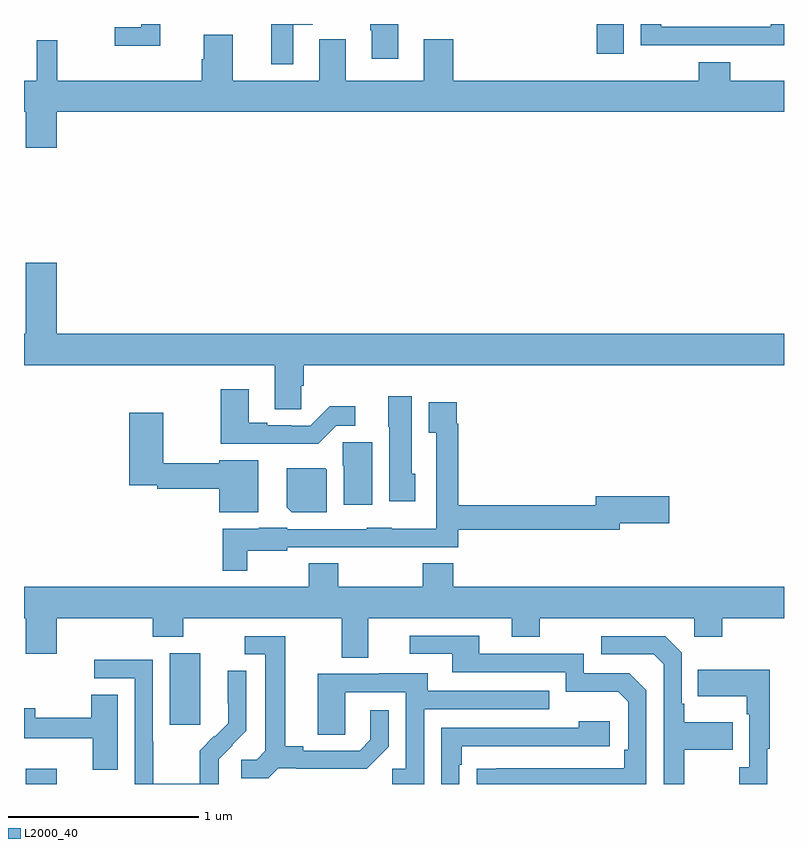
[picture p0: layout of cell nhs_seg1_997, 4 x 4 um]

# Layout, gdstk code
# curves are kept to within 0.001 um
import gdstk
lib = gdstk.Library(unit=1e-6, precision=1e-09)
def R(c, l, rs):  # rectangles x0, y0, x1, y1
    for r in rs: c.add(gdstk.rectangle(r[:2], r[2:], *l))
def P(c, l, *ps):  # polygons
    for p in ps: c.add(gdstk.Polygon(p, *l))
L2000_40 = (2000, 40)

nhs_seg1_997 = lib.new_cell('nhs_seg1_997')
R(nhs_seg1_997, L2000_40, [(165.008,544.199,165.172,544.279), (165.767,544.512,165.928,544.888), (168.014,548.043,168.157,548.199)])
P(nhs_seg1_997, L2000_40, [(165.717,548.199),(165.618,548.199),(165.618,548.182),(165.477,548.182),(165.477,548.084),(165.717,548.084)],
  [(166.969,548.199),(166.822,548.199),(166.822,548.166),(166.829,548.166),(166.829,548.016),(166.969,548.016)],
  [(166.417,548.194),(166.519,548.194),(166.519,548.199),(166.301,548.199),(166.301,547.986),(166.417,547.986)],
  [(168.467,548.088),(168.833,548.088),(168.833,548.087),(169,548.087),(169,548.199),(168.93,548.199),(168.93,548.184),(168.584,548.184),(168.584,548.185),(168.355,548.185),(168.355,548.199),(168.246,548.199),(168.246,548.087),(168.467,548.087)],
  [(165.172,547.736),(169,547.736),(169,547.9),(168.716,547.9),(168.716,547.999),(168.551,547.999),(168.551,547.9),(167.258,547.9),(167.258,548.119),(167.105,548.119),(167.105,547.9),(166.693,547.9),(166.693,548.119),(166.553,548.119),(166.553,547.9),(166.099,547.9),(166.099,548.143),(165.947,548.143),(165.947,548.013),(165.935,548.013),(165.935,547.9),(165.175,547.9),(165.175,548.114),(165.066,548.114),(165.066,547.9),(165,547.9),(165,547.736),(165.008,547.736),(165.008,547.548),(165.172,547.548)],
  [(166.458,546.294),(166.472,546.294),(166.472,546.404),(169,546.404),(169,546.568),(165.172,546.568),(165.172,546.943),(165.008,546.943),(165.008,546.568),(165,546.568),(165,546.404),(166.319,546.404),(166.319,546.172),(166.458,546.172)],
  [(166.644,546.084),(166.744,546.084),(166.744,546.187),(166.609,546.187),(166.506,546.084),(166.406,546.084),(166.406,546.087),(166.279,546.087),(166.279,546.1),(166.183,546.1),(166.183,546.277),(166.036,546.277),(166.036,545.99),(166.549,545.99)],
  [(167.059,545.832),(167.041,545.832),(167.041,546.241),(166.916,546.241),(166.916,546.078),(166.922,546.078),(166.922,545.688),(167.059,545.688)],
  [(166.174,545.426),(166.386,545.426),(166.386,545.445),(166.803,545.445),(166.803,545.444),(167.035,545.444),(167.035,545.445),(167.285,545.445),(167.285,545.538),(168.136,545.538),(168.136,545.572),(168.397,545.572),(168.397,545.714),(168.008,545.714),(168.008,545.666),(167.285,545.666),(167.285,546.095),(167.278,546.095),(167.278,546.208),(167.129,546.208),(167.129,546.047),(167.169,546.047),(167.169,545.542),(166.935,545.542),(166.935,545.548),(166.803,545.548),(166.803,545.541),(166.386,545.541),(166.386,545.548),(166.236,545.548),(166.236,545.542),(166.045,545.542),(166.045,545.321),(166.174,545.321)],
  [(166.234,545.902),(166.028,545.902),(166.028,545.888),(165.732,545.888),(165.732,546.154),(165.554,546.154),(165.554,545.772),(165.7,545.772),(165.7,545.752),(166.028,545.752),(166.028,545.63),(166.234,545.63)],
  [(166.834,545.997),(166.678,545.997),(166.678,545.874),(166.682,545.874),(166.682,545.67),(166.834,545.67)],
  [(166.594,545.852),(166.586,545.86),(166.382,545.86),(166.382,545.656),(166.408,545.63),(166.594,545.63)],
  [(165,545.072),(165.008,545.072),(165.008,544.884),(165.172,544.884),(165.172,545.072),(165.677,545.072),(165.677,544.973),(165.837,544.973),(165.837,545.072),(166.673,545.072),(166.673,544.864),(166.813,544.864),(166.813,545.072),(167.567,545.072),(167.567,544.973),(167.715,544.973),(167.715,545.072),(168.528,545.072),(168.528,544.973),(168.675,544.973),(168.675,545.072),(169,545.072),(169,545.236),(167.258,545.236),(167.258,545.36),(167.098,545.36),(167.098,545.236),(166.653,545.236),(166.653,545.36),(166.498,545.36),(166.498,545.236),(165,545.236)],
  [(168.276,544.692),(168.186,544.782),(167.946,544.782),(167.946,544.884),(167.395,544.884),(167.395,544.98),(167.031,544.98),(167.031,544.884),(167.255,544.884),(167.255,544.788),(167.85,544.788),(167.85,544.685),(168.127,544.685),(168.18,544.632),(168.18,544.378),(168.16,544.378),(168.16,544.281),(167.383,544.28),(167.383,544.199),(168.276,544.199)],
  [(166.338,544.281),(166.432,544.281),(166.432,544.278),(166.804,544.278),(166.92,544.394),(166.92,544.588),(166.823,544.588),(166.823,544.431),(166.766,544.374),(166.471,544.374),(166.471,544.397),(166.375,544.397),(166.375,544.977),(166.161,544.977),(166.161,544.881),(166.271,544.881),(166.271,544.373),(166.224,544.326),(166.143,544.326),(166.143,544.229),(166.286,544.229)],
  [(168.475,544.378),(168.731,544.378),(168.731,544.525),(168.475,544.525),(168.475,544.621),(168.462,544.621),(168.462,544.89),(168.375,544.977),(168.039,544.977),(168.039,544.881),(168.315,544.881),(168.366,544.83),(168.366,544.199),(168.475,544.199)],
  [(166.026,544.233),(166.024,544.233),(166.024,544.33),(166.17,544.478),(166.17,544.796),(166.073,544.796),(166.073,544.624),(166.076,544.624),(166.076,544.52),(166.005,544.449),(166.002,544.452),(165.925,544.375),(165.925,544.201),(165.681,544.201),(165.681,544.424),(165.678,544.424),(165.678,544.854),(165.369,544.854),(165.369,544.755),(165.582,544.755),(165.582,544.199),(166.026,544.199)],
  [(168.913,544.385),(168.925,544.385),(168.925,544.801),(168.547,544.801),(168.547,544.661),(168.804,544.661),(168.804,544.565),(168.816,544.565),(168.816,544.286),(168.765,544.286),(168.765,544.199),(168.913,544.199)],
  [(167.106,544.593),(167.765,544.593),(167.765,544.689),(167.125,544.689),(167.125,544.783),(166.871,544.783),(166.871,544.779),(166.547,544.779),(166.547,544.459),(166.692,544.459),(166.692,544.683),(167.01,544.683),(167.01,544.278),(166.938,544.278),(166.938,544.199),(167.106,544.199)],
  [(165.493,544.67),(165.355,544.67),(165.355,544.549),(165.058,544.549),(165.058,544.599),(165,544.599),(165,544.439),(165.362,544.439),(165.362,544.273),(165.493,544.273)],
  [(167.292,544.301),(167.305,544.301),(167.305,544.398),(168.082,544.398),(168.082,544.528),(167.921,544.528),(167.921,544.494),(167.196,544.494),(167.196,544.199),(167.292,544.199)])

lib.write_gds('nhs_seg1_997.gds')
